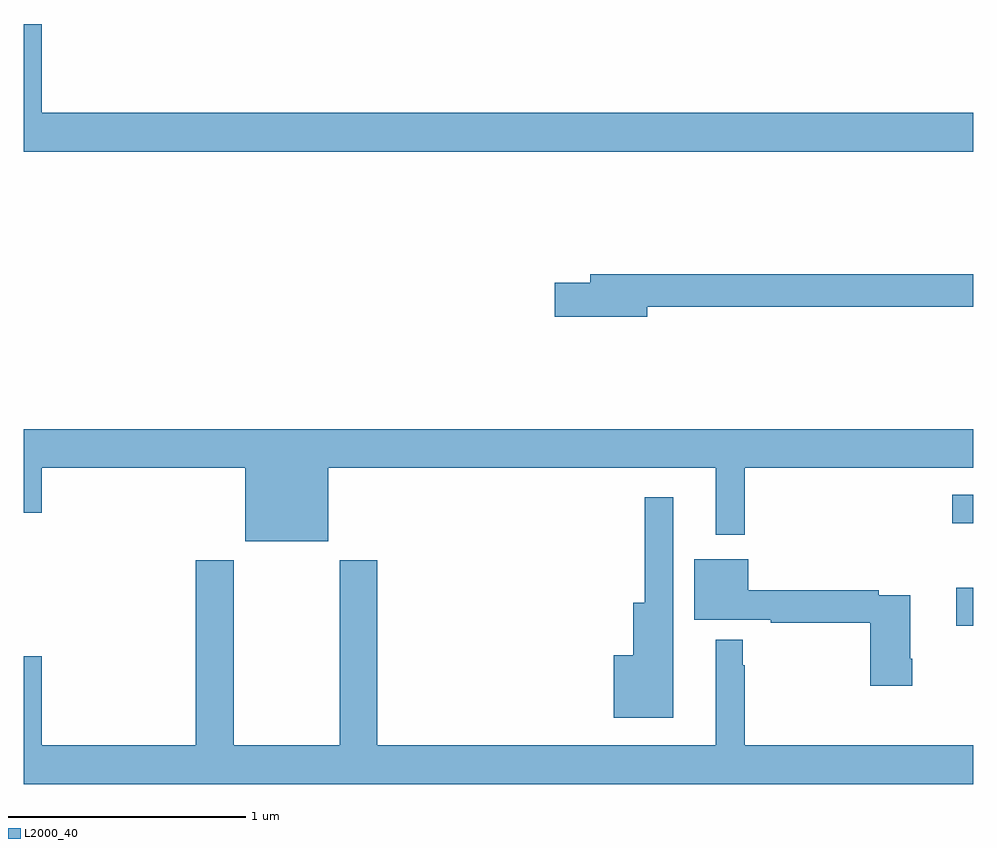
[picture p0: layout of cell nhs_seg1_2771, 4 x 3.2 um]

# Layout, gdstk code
import gdstk
lib = gdstk.Library(unit=1e-6, precision=1e-09)
def R(c, l, rs):  # rectangles x0, y0, x1, y1
    for r in rs: c.add(gdstk.rectangle(r[:2], r[2:], *l))
def P(c, l, *ps):  # polygons
    for p in ps: c.add(gdstk.Polygon(p, *l))
L2000_40 = (2000, 40)

nhs_seg1_2771 = lib.new_cell('nhs_seg1_2771')
R(nhs_seg1_2771, L2000_40, [(264.929,547.07,265,547.231), (264.912,547.502,265,547.624)])
P(nhs_seg1_2771, L2000_40, [(265,549.232),(261.076,549.232),(261.076,549.607),(261,549.607),(261,549.068),(265,549.068)],
  [(263.626,548.416),(265,548.416),(265,548.552),(263.387,548.552),(263.387,548.516),(263.238,548.516),(263.238,548.374),(263.626,548.374)],
  [(262.282,547.736),(263.915,547.736),(263.915,547.455),(264.037,547.455),(264.037,547.736),(265,547.736),(265,547.9),(261,547.9),(261,547.548),(261.076,547.548),(261.076,547.736),(261.932,547.736),(261.932,547.427),(262.282,547.427)],
  [(263.737,547.612),(263.616,547.612),(263.616,547.168),(263.567,547.168),(263.567,546.946),(263.486,546.946),(263.486,546.683),(263.737,546.683)],
  [(264.744,546.931),(264.736,546.931),(264.736,547.2),(264.602,547.2),(264.602,547.22),(264.052,547.22),(264.052,547.351),(263.825,547.351),(263.825,547.097),(264.148,547.097),(264.148,547.084),(264.566,547.084),(264.566,546.819),(264.744,546.819)],
  [(265,546.568),(264.037,546.568),(264.037,546.905),(264.03,546.905),(264.03,547.012),(263.915,547.012),(263.915,546.568),(262.49,546.568),(262.49,547.348),(262.33,547.348),(262.33,546.568),(261.885,546.568),(261.885,547.348),(261.725,547.348),(261.725,546.568),(261.076,546.568),(261.076,546.943),(261,546.943),(261,546.404),(265,546.404)])

lib.write_gds('nhs_seg1_2771.gds')
